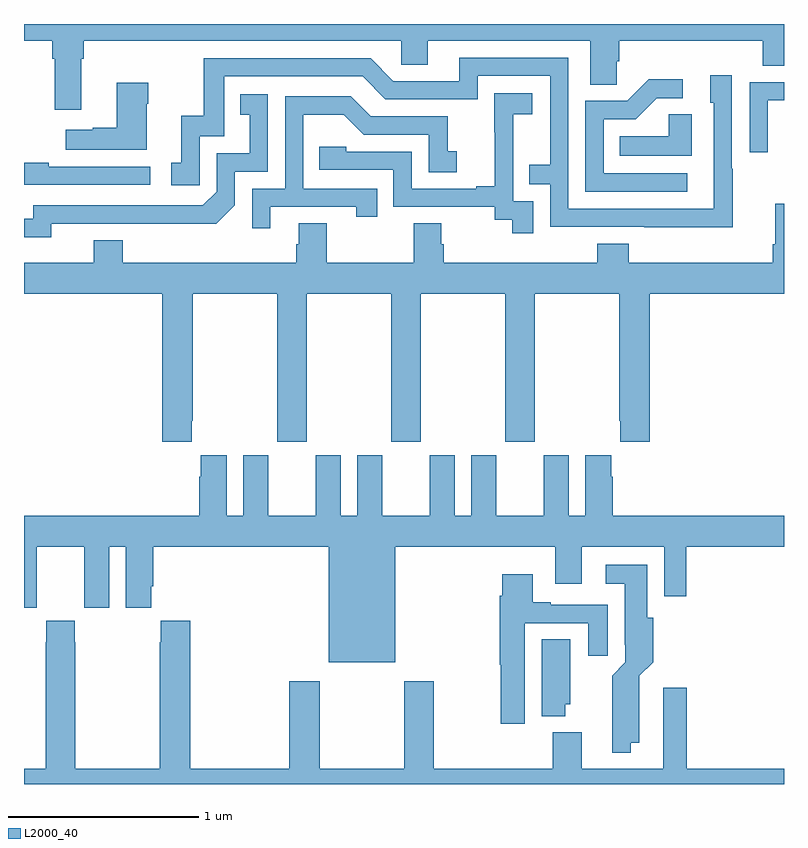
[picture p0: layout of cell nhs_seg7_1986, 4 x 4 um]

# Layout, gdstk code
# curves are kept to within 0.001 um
import gdstk
lib = gdstk.Library(unit=1e-6, precision=1e-09)
def P(c, l, *ps):  # polygons
    for p in ps: c.add(gdstk.Polygon(p, *l))
L2000_40 = (2000, 40)

nhs_seg7_1986 = lib.new_cell('nhs_seg7_1986')
P(nhs_seg7_1986, L2000_40, [(243,1037.912),(243.149,1037.912),(243.149,1037.816),(243.161,1037.816),(243.161,1037.55),(243.301,1037.55),(243.301,1037.816),(243.314,1037.816),(243.314,1037.912),(244.986,1037.912),(244.986,1037.785),(245.125,1037.785),(245.125,1037.912),(245.981,1037.912),(245.981,1037.68),(246.12,1037.68),(246.12,1037.803),(246.134,1037.803),(246.134,1037.912),(246.887,1037.912),(246.887,1037.779),(247,1037.779),(247,1038),(243,1038)],
  [(246.729,1037.237),(246.726,1037.237),(246.726,1037.731),(246.611,1037.731),(246.611,1037.586),(246.63,1037.586),(246.63,1037.028),(245.865,1037.028),(245.865,1037.823),(245.291,1037.823),(245.291,1037.7),(244.944,1037.7),(244.824,1037.82),(243.945,1037.82),(243.945,1037.518),(243.827,1037.518),(243.827,1037.271),(243.774,1037.271),(243.774,1037.151),(243.924,1037.151),(243.924,1037.409),(244.053,1037.409),(244.053,1037.724),(244.782,1037.724),(244.902,1037.604),(245.388,1037.604),(245.388,1037.727),(245.769,1037.727),(245.769,1037.258),(245.659,1037.258),(245.659,1037.157),(245.769,1037.157),(245.769,1036.932),(246.265,1036.932),(246.265,1036.93),(246.729,1036.93)],
  [(246.49,1037.214),(246.051,1037.214),(246.051,1037.499),(246.22,1037.499),(246.331,1037.61),(246.466,1037.61),(246.466,1037.708),(246.287,1037.708),(246.174,1037.595),(245.955,1037.595),(245.955,1037.118),(246.49,1037.118)],
  [(246.915,1037.598),(247,1037.598),(247,1037.694),(246.819,1037.694),(246.819,1037.325),(246.915,1037.325)],
  [(243.646,1037.579),(243.654,1037.579),(243.654,1037.692),(243.488,1037.692),(243.488,1037.453),(243.362,1037.453),(243.362,1037.443),(243.219,1037.443),(243.219,1037.339),(243.646,1037.339)],
  [(245.679,1037.067),(245.574,1037.067),(245.574,1037.297),(245.576,1037.297),(245.576,1037.525),(245.674,1037.525),(245.674,1037.635),(245.476,1037.635),(245.476,1037.429),(245.477,1037.429),(245.477,1037.146),(245.381,1037.146),(245.381,1037.133),(245.04,1037.133),(245.04,1037.328),(244.695,1037.328),(244.695,1037.355),(244.555,1037.355),(244.555,1037.232),(244.944,1037.232),(244.944,1037.037),(245.478,1037.037),(245.478,1036.969),(245.571,1036.969),(245.571,1036.899),(245.679,1036.899)],
  [(243.144,1036.95),(244.012,1036.949),(244.11,1037.046),(244.11,1037.223),(244.284,1037.223),(244.284,1037.629),(244.138,1037.629),(244.138,1037.523),(244.187,1037.523),(244.187,1037.319),(244.014,1037.319),(244.014,1037.118),(243.942,1037.046),(243.048,1037.046),(243.048,1036.974),(243,1036.974),(243,1036.877),(243.144,1036.877)],
  [(244.297,1037.037),(244.748,1037.037),(244.748,1036.986),(244.859,1036.986),(244.859,1037.133),(244.47,1037.133),(244.47,1037.522),(244.684,1037.522),(244.788,1037.418),(245.13,1037.418),(245.13,1037.22),(245.278,1037.22),(245.278,1037.329),(245.229,1037.329),(245.229,1037.514),(244.825,1037.514),(244.72,1037.619),(244.374,1037.619),(244.374,1037.133),(244.2,1037.133),(244.2,1036.926),(244.297,1036.926)],
  [(246.514,1037.525),(246.393,1037.525),(246.393,1037.41),(246.136,1037.41),(246.136,1037.306),(246.514,1037.306)],
  [(243.664,1037.25),(243.131,1037.25),(243.131,1037.27),(243,1037.27),(243,1037.154),(243.664,1037.154)],
  [(243.883,1035.913),(243.888,1035.913),(243.888,1036.58),(244.333,1036.58),(244.333,1035.801),(244.488,1035.801),(244.488,1036.58),(244.933,1036.58),(244.933,1035.801),(245.088,1035.801),(245.088,1036.58),(245.533,1036.58),(245.533,1035.801),(245.688,1035.801),(245.688,1036.58),(246.133,1036.58),(246.133,1035.913),(246.137,1035.913),(246.137,1035.801),(246.293,1035.801),(246.293,1036.58),(247,1036.58),(247,1037.053),(246.953,1037.053),(246.953,1036.84),(246.941,1036.84),(246.941,1036.744),(246.182,1036.744),(246.182,1036.843),(246.017,1036.843),(246.017,1036.744),(245.21,1036.744),(245.21,1036.842),(245.197,1036.842),(245.197,1036.952),(245.05,1036.952),(245.05,1036.744),(244.593,1036.744),(244.593,1036.952),(244.445,1036.952),(244.445,1036.842),(244.433,1036.842),(244.433,1036.744),(243.521,1036.744),(243.521,1036.861),(243.368,1036.861),(243.368,1036.744),(243,1036.744),(243,1036.58),(243.728,1036.58),(243.728,1035.801),(243.883,1035.801)],
  [(244.954,1035.248),(245.795,1035.248),(245.795,1035.054),(245.935,1035.054),(245.935,1035.248),(246.369,1035.248),(246.369,1034.988),(246.485,1034.988),(246.485,1035.248),(247,1035.248),(247,1035.412),(246.098,1035.412),(246.098,1035.617),(246.091,1035.617),(246.091,1035.73),(245.954,1035.73),(245.954,1035.412),(245.866,1035.412),(245.866,1035.73),(245.735,1035.73),(245.735,1035.412),(245.485,1035.412),(245.485,1035.73),(245.354,1035.73),(245.354,1035.412),(245.266,1035.412),(245.266,1035.73),(245.135,1035.73),(245.135,1035.412),(244.885,1035.412),(244.885,1035.73),(244.754,1035.73),(244.754,1035.412),(244.666,1035.412),(244.666,1035.73),(244.535,1035.73),(244.535,1035.412),(244.285,1035.412),(244.285,1035.73),(244.154,1035.73),(244.154,1035.412),(244.066,1035.412),(244.066,1035.73),(243.929,1035.73),(243.929,1035.617),(243.923,1035.617),(243.923,1035.412),(243,1035.412),(243,1034.928),(243.066,1034.928),(243.066,1035.04),(243.067,1035.04),(243.067,1035.248),(243.317,1035.248),(243.317,1035.04),(243.318,1035.04),(243.318,1034.928),(243.448,1034.928),(243.448,1035.248),(243.536,1035.248),(243.536,1034.928),(243.67,1034.928),(243.67,1035.04),(243.68,1035.04),(243.68,1035.248),(244.604,1035.248),(244.604,1034.642),(244.954,1034.642)],
  [(246.193,1034.216),(246.238,1034.216),(246.239,1034.57),(246.311,1034.642),(246.311,1034.874),(246.28,1034.874),(246.28,1035.154),(246.063,1035.154),(246.063,1035.053),(246.161,1035.053),(246.161,1034.734),(246.165,1034.734),(246.165,1034.64),(246.095,1034.57),(246.096,1034.165),(246.193,1034.165)],
  [(245.635,1034.847),(245.969,1034.847),(245.969,1034.676),(246.073,1034.676),(246.073,1034.943),(245.773,1034.943),(245.773,1034.956),(245.677,1034.956),(245.677,1035.103),(245.516,1035.103),(245.516,1034.99),(245.504,1034.99),(245.504,1034.628),(245.509,1034.628),(245.509,1034.316),(245.635,1034.316)],
  [(247,1034.08),(246.488,1034.08),(246.488,1034.506),(246.365,1034.506),(246.365,1034.08),(245.935,1034.08),(245.935,1034.272),(245.783,1034.272),(245.783,1034.08),(245.157,1034.08),(245.157,1034.542),(245.002,1034.542),(245.002,1034.08),(244.557,1034.08),(244.557,1034.542),(244.397,1034.542),(244.397,1034.08),(243.875,1034.08),(243.875,1034.86),(243.721,1034.86),(243.721,1034.747),(243.715,1034.747),(243.715,1034.08),(243.27,1034.08),(243.27,1034.747),(243.267,1034.747),(243.267,1034.86),(243.117,1034.86),(243.117,1034.747),(243.115,1034.747),(243.115,1034.08),(243,1034.08),(243,1034),(247,1034)],
  [(245.848,1034.421),(245.875,1034.421),(245.875,1034.762),(245.726,1034.762),(245.726,1034.357),(245.848,1034.357)])

lib.write_gds('nhs_seg7_1986.gds')
